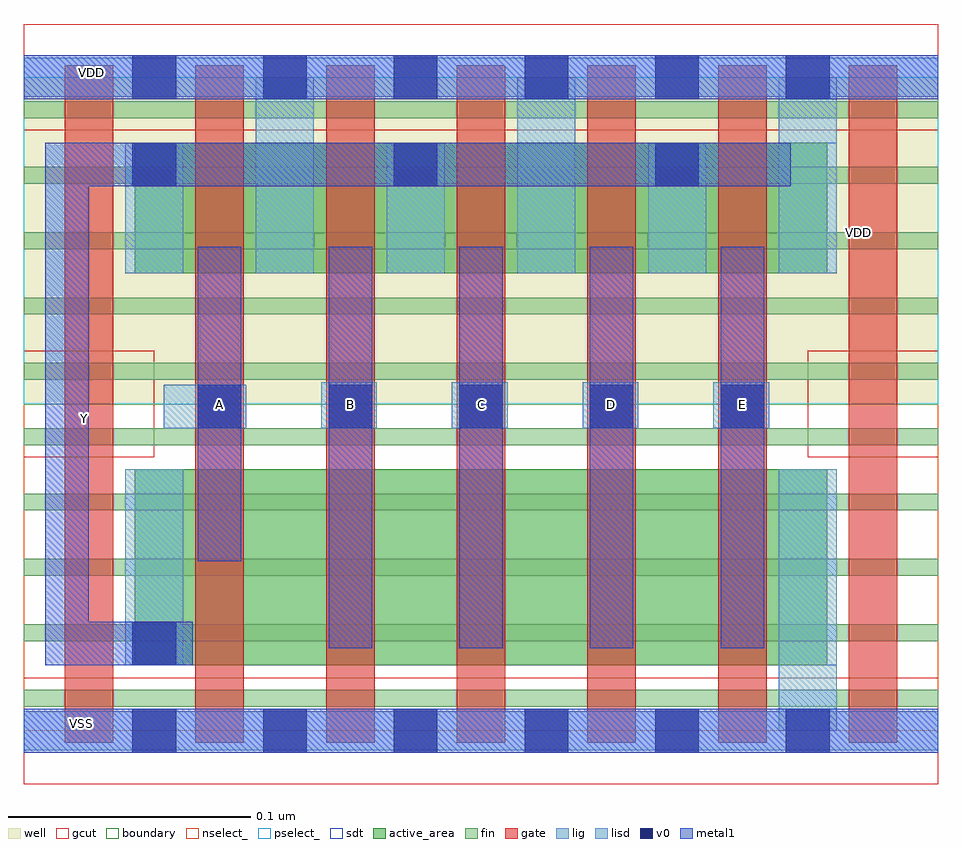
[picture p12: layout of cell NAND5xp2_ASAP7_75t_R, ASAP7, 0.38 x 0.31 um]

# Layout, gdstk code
import gdstk
lib = gdstk.Library(unit=1e-6, precision=1e-09)
def R(c, l, rs):  # rectangles x0, y0, x1, y1
    for r in rs: c.add(gdstk.rectangle(r[:2], r[2:], *l))
def A(c, l, x, y, w, h, nx, ny, dx, dy):  # array of equal rectangles
    R(c, l, [(x+i*dx, y+j*dy, x+i*dx+w, y+j*dy+h) for i in range(nx) for j in range(ny)])
def P(c, l, *ps):  # polygons
    for p in ps: c.add(gdstk.Polygon(p, *l))
well = (1, 0)
fin = (2, 0)
gate = (7, 0)
gcut = (10, 0)
active_area = (11, 0)
nselect_ = (12, 0)
pselect_ = (13, 0)
lig = (16, 0)
lisd = (17, 0)
v0 = (18, 0)
metal1 = (19, 0)
sdt = (88, 0)
boundary = (100, 0)

nand5xp2_asap7_75t_r = lib.new_cell('NAND5xp2_ASAP7_75t_R')
R(nand5xp2_asap7_75t_r, well, [(0,0.135,0.378,0.27)])
A(nand5xp2_asap7_75t_r, fin, 0, 0.01, 0.378, 0.007, 1, 10, 0, 0.027)
A(nand5xp2_asap7_75t_r, gate, 0.017, -0.005, 0.02, 0.28, 7, 1, 0.054, 0)
R(nand5xp2_asap7_75t_r, gcut, [(0,-0.022,0.378,0.022), (0,0.113,0.054,0.157), (0.324,0.113,0.378,0.157), (0,0.248,0.378,0.292)])
R(nand5xp2_asap7_75t_r, active_area, [(0.046,0.027,0.332,0.108), (0.046,0.189,0.332,0.243)])
R(nand5xp2_asap7_75t_r, nselect_, [(0,0,0.378,0.135)])
R(nand5xp2_asap7_75t_r, pselect_, [(0,0.135,0.378,0.27)])
A(nand5xp2_asap7_75t_r, lig, 0.123, 0.125, 0.023, 0.019, 4, 1, 0.054, 0)
R(nand5xp2_asap7_75t_r, lig, [(0,-0.008,0.378,0.008), (0.058,0.125,0.092,0.143), (0,0.262,0.378,0.278)])
A(nand5xp2_asap7_75t_r, lisd, 0.042, 0.189, 0.024, 0.054, 3, 1, 0.108, 0)
A(nand5xp2_asap7_75t_r, lisd, 0.096, 0.189, 0.024, 0.081, 3, 1, 0.108, 0)
R(nand5xp2_asap7_75t_r, lisd, [(0.312,0,0.336,0.108), (0.042,0.027,0.066,0.108)])
A(nand5xp2_asap7_75t_r, v0, 0.045, -0.009, 0.018, 0.018, 6, 2, 0.054, 0.27)
A(nand5xp2_asap7_75t_r, v0, 0.072, 0.125, 0.018, 0.018, 5, 1, 0.054, 0)
A(nand5xp2_asap7_75t_r, v0, 0.045, 0.225, 0.018, 0.018, 3, 1, 0.108, 0)
R(nand5xp2_asap7_75t_r, v0, [(0.045,0.027,0.063,0.045)])
A(nand5xp2_asap7_75t_r, metal1, 0.126, 0.034, 0.018, 0.166, 4, 1, 0.054, 0)
R(nand5xp2_asap7_75t_r, metal1, [(0,-0.009,0.378,0.009), (0.072,0.07,0.09,0.2), (0,0.261,0.378,0.279)])
P(nand5xp2_asap7_75t_r, metal1, [(0.009,0.027),(0.009,0.243),(0.317,0.243),(0.317,0.225),(0.027,0.225),(0.027,0.045),(0.07,0.045),(0.07,0.027)])
A(nand5xp2_asap7_75t_r, sdt, 0.042, 0.189, 0.024, 0.054, 6, 1, 0.054, 0)
R(nand5xp2_asap7_75t_r, sdt, [(0.042,0.027,0.066,0.108), (0.312,0.027,0.336,0.108)])
R(nand5xp2_asap7_75t_r, boundary, [(0,0,0.378,0.27)])
nand5xp2_asap7_75t_r.add(gdstk.Label('B', (0.135,0.135), layer=19, texttype=251))
nand5xp2_asap7_75t_r.add(gdstk.Label('A', (0.081,0.135), layer=19, texttype=251))
nand5xp2_asap7_75t_r.add(gdstk.Label('C', (0.189,0.135), layer=19, texttype=251))
nand5xp2_asap7_75t_r.add(gdstk.Label('VDD', (0.028,0.272), layer=19, texttype=251))
nand5xp2_asap7_75t_r.add(gdstk.Label('VSS', (0.024,0.003), layer=19, texttype=251))
nand5xp2_asap7_75t_r.add(gdstk.Label('D', (0.243,0.135), layer=19, texttype=251))
nand5xp2_asap7_75t_r.add(gdstk.Label('E', (0.297,0.135), layer=19, texttype=251))
nand5xp2_asap7_75t_r.add(gdstk.Label('Y', (0.025,0.129), layer=19, texttype=251))
nand5xp2_asap7_75t_r.add(gdstk.Label('VDD', (0.345,0.206), layer=1, texttype=251))
nand5xp2_asap7_75t_r.add(gdstk.Label('VSS', (0.414,0.205), layer=3, texttype=251))

lib.write_gds('NAND5xp2_ASAP7_75t_R.gds')
